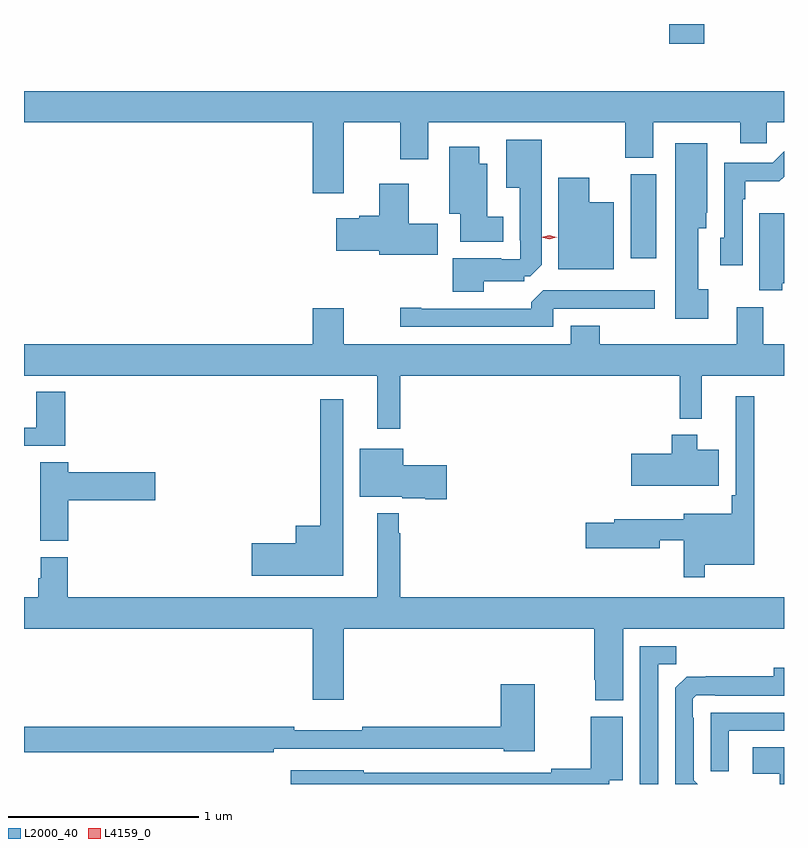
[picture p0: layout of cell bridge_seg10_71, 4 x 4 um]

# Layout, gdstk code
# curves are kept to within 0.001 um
import gdstk
lib = gdstk.Library(unit=1e-6, precision=1e-09)
def R(c, l, rs):  # rectangles x0, y0, x1, y1
    for r in rs: c.add(gdstk.rectangle(r[:2], r[2:], *l))
def P(c, l, *ps):  # polygons
    for p in ps: c.add(gdstk.Polygon(p, *l))
L2000_40 = (2000, 40)
L4159_0 = (4159, 0)

bridge_seg10_71 = lib.new_cell('bridge_seg10_71')
R(bridge_seg10_71, L2000_40, [(730.118,1291.608,730.252,1292.052), (730.322,1292.739,730.505,1292.842)])
P(bridge_seg10_71, L2000_40, [(728.608,1292.324),(728.905,1292.324),(728.905,1292.13),(729.052,1292.13),(729.052,1292.324),(730.09,1292.324),(730.09,1292.137),(730.237,1292.137),(730.237,1292.324),(730.694,1292.324),(730.694,1292.214),(730.833,1292.214),(730.833,1292.324),(730.925,1292.324),(730.925,1292.488),(726.925,1292.488),(726.925,1292.324),(728.444,1292.324),(728.444,1291.95),(728.608,1291.95)],
  [(729.346,1291.487),(729.558,1291.487),(729.558,1291.515),(729.589,1291.515),(729.649,1291.575),(729.649,1292.233),(729.464,1292.233),(729.464,1291.979),(729.533,1291.979),(729.533,1291.705),(729.537,1291.705),(729.537,1291.605),(729.437,1291.605),(729.437,1291.609),(729.182,1291.609),(729.182,1291.433),(729.346,1291.433)],
  [(730.525,1291.446),(730.474,1291.446),(730.474,1291.766),(730.515,1291.766),(730.515,1291.848),(730.522,1291.848),(730.522,1292.215),(730.352,1292.215),(730.352,1291.29),(730.525,1291.29)],
  [(729.448,1291.828),(729.364,1291.828),(729.364,1292.107),(729.322,1292.107),(729.322,1292.197),(729.164,1292.197),(729.164,1291.844),(729.221,1291.844),(729.221,1291.697),(729.448,1291.697)],
  [(730.707,1291.919),(730.72,1291.919),(730.72,1292.015),(730.901,1292.015),(730.925,1292.039),(730.925,1292.171),(730.866,1292.112),(730.611,1292.112),(730.611,1291.716),(730.59,1291.716),(730.59,1291.572),(730.707,1291.572)],
  [(730.03,1291.903),(729.901,1291.903),(729.901,1292.032),(729.737,1292.032),(729.737,1291.55),(730.03,1291.55)],
  [(729.103,1291.791),(728.95,1291.791),(728.95,1292.002),(728.795,1292.002),(728.795,1291.832),(728.69,1291.832),(728.69,1291.819),(728.568,1291.819),(728.568,1291.649),(728.795,1291.649),(728.795,1291.628),(729.103,1291.628)],
  [(730.916,1291.478),(730.925,1291.478),(730.925,1291.846),(730.796,1291.846),(730.796,1291.441),(730.916,1291.441)],
  [(729.711,1291.344),(730.246,1291.344),(730.246,1291.44),(729.657,1291.44),(729.596,1291.378),(729.596,1291.344),(729.016,1291.344),(729.016,1291.349),(728.904,1291.349),(728.904,1291.248),(729.711,1291.248)],
  [(729.956,1291.255),(729.803,1291.255),(729.803,1291.156),(728.608,1291.156),(728.608,1291.345),(728.444,1291.345),(728.444,1291.156),(726.925,1291.156),(726.925,1290.992),(728.783,1290.992),(728.783,1290.711),(728.905,1290.711),(728.905,1290.992),(730.375,1290.992),(730.375,1290.764),(730.493,1290.764),(730.493,1290.992),(730.925,1290.992),(730.925,1291.156),(730.816,1291.156),(730.816,1291.351),(730.676,1291.351),(730.676,1291.156),(729.956,1291.156)],
  [(727.142,1290.907),(726.989,1290.907),(726.989,1290.717),(726.925,1290.717),(726.925,1290.621),(727.142,1290.621)],
  [(730.507,1289.996),(730.768,1289.996),(730.768,1290.883),(730.671,1290.883),(730.671,1290.361),(730.651,1290.361),(730.651,1290.265),(730.397,1290.265),(730.397,1290.235),(730.031,1290.235),(730.031,1290.218),(729.882,1290.218),(729.882,1290.083),(730.27,1290.083),(730.27,1290.126),(730.398,1290.126),(730.398,1289.931),(730.507,1289.931)],
  [(728.605,1290.868),(728.484,1290.868),(728.484,1290.202),(728.354,1290.202),(728.354,1290.11),(728.124,1290.11),(728.124,1289.939),(728.605,1289.939)],
  [(730.582,1290.601),(730.468,1290.601),(730.468,1290.679),(730.334,1290.679),(730.334,1290.579),(730.122,1290.579),(730.122,1290.413),(730.582,1290.413)],
  [(729.151,1290.519),(728.92,1290.519),(728.92,1290.607),(728.693,1290.607),(728.693,1290.353),(728.916,1290.353),(728.916,1290.347),(729.038,1290.347),(729.038,1290.341),(729.151,1290.341)],
  [(727.157,1290.335),(727.615,1290.335),(727.615,1290.482),(727.157,1290.482),(727.157,1290.536),(727.01,1290.536),(727.01,1290.121),(727.157,1290.121)],
  [(727.013,1290.036),(727.013,1289.925),(727.001,1289.925),(727.001,1289.824),(726.925,1289.824),(726.925,1289.66),(728.444,1289.66),(728.444,1289.286),(728.608,1289.286),(728.608,1289.66),(729.926,1289.66),(729.926,1289.392),(729.931,1289.392),(729.931,1289.282),(730.078,1289.282),(730.078,1289.66),(730.925,1289.66),(730.925,1289.824),(728.905,1289.824),(728.905,1290.161),(728.897,1290.161),(728.897,1290.268),(728.783,1290.268),(728.783,1289.824),(727.154,1289.824),(727.154,1290.036)],
  [(730.263,1289.473),(730.359,1289.473),(730.359,1289.568),(730.167,1289.568),(730.167,1288.842),(730.263,1288.842)],
  [(730.449,1288.863),(730.449,1289.192),(730.446,1289.192),(730.446,1289.292),(730.464,1289.31),(730.564,1289.31),(730.564,1289.307),(730.925,1289.307),(730.925,1289.455),(730.87,1289.455),(730.87,1289.408),(730.412,1289.407),(730.353,1289.348),(730.353,1288.842),(730.47,1288.842)],
  [(728.24,1289.028),(729.45,1289.028),(729.45,1289.015),(729.612,1289.015),(729.612,1289.368),(729.434,1289.368),(729.434,1289.144),(728.704,1289.144),(728.704,1289.125),(728.348,1289.125),(728.348,1289.144),(726.925,1289.144),(726.925,1289.008),(728.24,1289.008)],
  [(730.635,1289.121),(730.925,1289.121),(730.925,1289.217),(730.539,1289.217),(730.539,1288.908),(730.635,1288.908)],
  [(730.005,1288.862),(730.075,1288.862),(730.075,1289.197),(729.908,1289.197),(729.908,1288.922),(729.7,1288.922),(729.7,1288.902),(728.712,1288.902),(728.712,1288.915),(728.328,1288.915),(728.328,1288.842),(730.005,1288.842)],
  [(730.925,1289.036),(730.761,1289.036),(730.761,1288.896),(730.902,1288.896),(730.902,1288.842),(730.925,1288.842)])
P(bridge_seg10_71, L4159_0, [(729.689,1291.71),(729.648,1291.72),(729.648,1291.72),(729.648,1291.72),(729.689,1291.73),(729.73,1291.72),(729.73,1291.72),(729.73,1291.72)])

lib.write_gds('bridge_seg10_71.gds')
